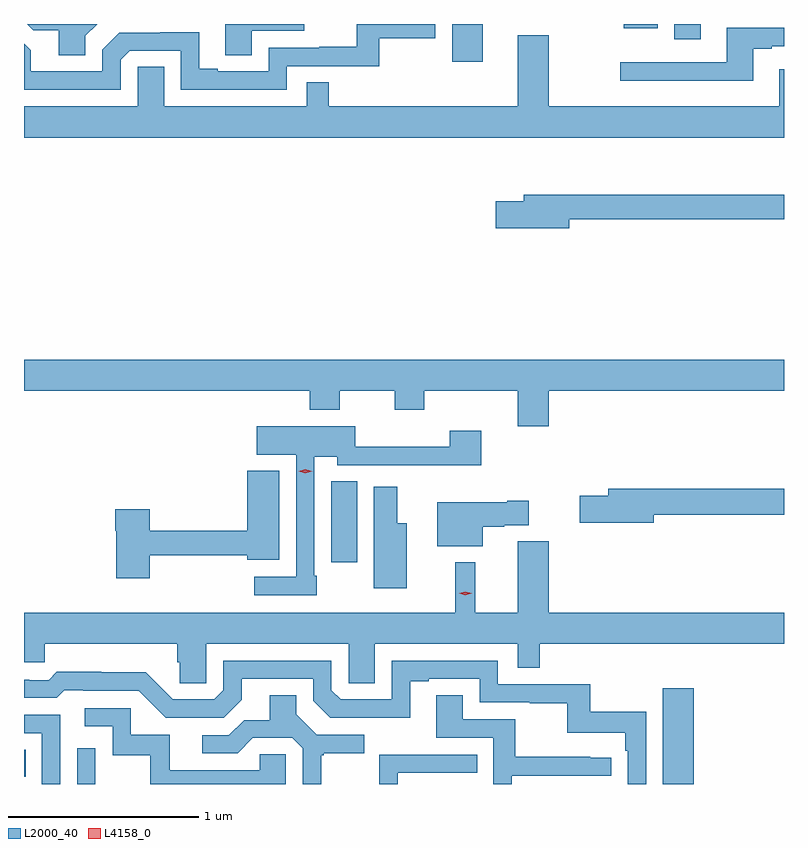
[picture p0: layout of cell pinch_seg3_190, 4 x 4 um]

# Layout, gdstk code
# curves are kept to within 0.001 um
import gdstk
lib = gdstk.Library(unit=1e-6, precision=1e-09)
def R(c, l, rs):  # rectangles x0, y0, x1, y1
    for r in rs: c.add(gdstk.rectangle(r[:2], r[2:], *l))
def P(c, l, *ps):  # polygons
    for p in ps: c.add(gdstk.Polygon(p, *l))
L2000_40 = (2000, 40)
L4158_0 = (4158, 0)

pinch_seg3_190 = lib.new_cell('pinch_seg3_190')
R(pinch_seg3_190, L2000_40, [(977.874,729.482,977.97,729.67), (980.957,729.482,981.118,729.985), (977.594,729.521,977.603,729.661), (979.211,730.65,979.348,731.075), (979.847,733.284,980.008,733.482), (981.017,733.401,981.157,733.482), (980.75,733.46,980.929,733.482)])
P(pinch_seg3_190, L2000_40, [(978.793,733.446),(979.07,733.446),(979.07,733.482),(978.653,733.482),(978.653,733.318),(978.793,733.318)],
  [(977.917,733.42),(977.979,733.482),(977.61,733.482),(977.642,733.45),(977.777,733.45),(977.777,733.318),(977.917,733.318)],
  [(978.102,733.293),(978.15,733.341),(978.42,733.341),(978.42,733.137),(978.978,733.137),(978.978,733.26),(979.465,733.26),(979.465,733.407),(979.758,733.407),(979.758,733.482),(979.344,733.482),(979.344,733.361),(979.147,733.361),(979.147,733.356),(978.882,733.356),(978.882,733.233),(978.613,733.233),(978.613,733.246),(978.517,733.246),(978.517,733.439),(978.312,733.439),(978.312,733.437),(978.096,733.437),(978.006,733.347),(978.006,733.233),(977.629,733.233),(977.629,733.343),(977.594,733.378),(977.594,733.137),(978.102,733.137)],
  [(981.433,733.353),(981.529,733.353),(981.529,733.365),(981.594,733.365),(981.594,733.462),(981.293,733.462),(981.293,733.281),(980.733,733.281),(980.733,733.184),(981.433,733.184)],
  [(981.594,733.243),(981.569,733.243),(981.569,733.048),(980.356,733.048),(980.356,733.423),(980.192,733.423),(980.192,733.048),(979.199,733.048),(979.199,733.175),(979.083,733.175),(979.083,733.048),(978.331,733.048),(978.331,733.256),(978.192,733.256),(978.192,733.048),(977.594,733.048),(977.594,732.884),(981.594,732.884)],
  [(980.464,732.454),(981.594,732.454),(981.594,732.583),(980.225,732.583),(980.225,732.549),(980.076,732.549),(980.076,732.407),(980.464,732.407)],
  [(980.356,731.552),(981.594,731.552),(981.594,731.716),(977.594,731.716),(977.594,731.552),(979.097,731.552),(979.097,731.453),(979.257,731.453),(979.257,731.552),(979.546,731.552),(979.546,731.453),(979.701,731.453),(979.701,731.552),(980.192,731.552),(980.192,731.364),(980.356,731.364)],
  [(979.135,730.579),(979.122,730.579),(979.122,731.204),(979.242,731.204),(979.242,731.16),(979.751,731.16),(979.751,731.159),(980,731.159),(980,731.341),(979.835,731.341),(979.835,731.258),(979.338,731.258),(979.338,731.365),(978.819,731.365),(978.819,731.216),(979.026,731.216),(979.026,730.572),(978.807,730.572),(978.807,730.476),(979.135,730.476)],
  [(978.257,730.686),(978.77,730.686),(978.77,730.661),(978.937,730.661),(978.937,731.131),(978.77,731.131),(978.77,730.814),(978.257,730.814),(978.257,730.927),(978.074,730.927),(978.074,730.814),(978.079,730.814),(978.079,730.566),(978.257,730.566)],
  [(979.609,730.855),(979.558,730.855),(979.558,731.047),(979.436,731.047),(979.436,730.511),(979.609,730.511)],
  [(980.908,730.9),(981.594,730.9),(981.594,731.036),(980.669,731.036),(980.669,731),(980.52,731),(980.52,730.858),(980.908,730.858)],
  [(980.008,730.837),(980.121,730.837),(980.121,730.844),(980.251,730.844),(980.251,730.974),(980.138,730.974),(980.138,730.966),(979.769,730.966),(979.769,730.733),(980.008,730.733)],
  [(977.594,730.122),(977.703,730.122),(977.703,730.22),(978.401,730.22),(978.401,730.122),(978.415,730.122),(978.415,730.012),(978.552,730.012),(978.552,730.22),(979.302,730.22),(979.302,730.012),(979.441,730.012),(979.441,730.22),(980.193,730.22),(980.193,730.093),(980.309,730.093),(980.309,730.22),(981.594,730.22),(981.594,730.384),(980.356,730.384),(980.356,730.759),(980.192,730.759),(980.192,730.384),(979.968,730.384),(979.968,730.648),(979.864,730.648),(979.864,730.384),(977.594,730.384)],
  [(980.868,729.862),(980.575,729.862),(980.575,730.008),(980.088,730.008),(980.088,730.131),(979.53,730.131),(979.53,729.927),(979.26,729.927),(979.212,729.975),(979.212,730.131),(978.642,730.131),(978.642,729.975),(978.594,729.927),(978.378,729.927),(978.236,730.069),(978,730.069),(978,730.072),(977.767,730.072),(977.725,730.029),(977.622,730.029),(977.622,730.032),(977.594,730.032),(977.594,729.936),(977.767,729.936),(977.806,729.975),(977.905,729.975),(977.905,729.972),(978.198,729.972),(978.339,729.831),(978.645,729.831),(978.739,729.925),(978.739,730.035),(979.116,730.035),(979.116,729.921),(979.206,729.831),(979.627,729.83),(979.627,730.023),(979.723,730.023),(979.723,730.035),(979.992,730.035),(979.992,729.912),(980.257,729.912),(980.257,729.907),(980.454,729.907),(980.454,729.752),(980.759,729.752),(980.759,729.656),(980.772,729.656),(980.772,729.482),(980.868,729.482)],
  [(979.159,729.633),(979.171,729.633),(979.171,729.644),(979.384,729.644),(979.384,729.741),(979.134,729.741),(979.027,729.848),(979.027,729.95),(978.887,729.95),(978.887,729.818),(978.752,729.818),(978.672,729.738),(978.531,729.738),(978.531,729.645),(978.718,729.645),(978.799,729.726),(979.005,729.726),(979.062,729.669),(979.062,729.482),(979.159,729.482)],
  [(980.16,729.525),(980.686,729.525),(980.686,729.621),(980.573,729.621),(980.573,729.626),(980.18,729.626),(980.18,729.822),(979.903,729.822),(979.903,729.95),(979.763,729.95),(979.763,729.726),(980.064,729.726),(980.064,729.482),(980.16,729.482)],
  [(978.972,729.639),(978.835,729.639),(978.835,729.555),(978.361,729.555),(978.361,729.741),(978.156,729.741),(978.156,729.882),(977.913,729.882),(977.913,729.786),(978.06,729.786),(978.06,729.633),(978.259,729.633),(978.259,729.482),(978.972,729.482)],
  [(977.784,729.846),(977.594,729.846),(977.594,729.75),(977.688,729.75),(977.688,729.482),(977.784,729.482)],
  [(979.56,729.54),(979.979,729.54),(979.979,729.636),(979.464,729.636),(979.464,729.482),(979.56,729.482)])
P(pinch_seg3_190, L4158_0, [(979.917,730.475),(979.884,730.485),(979.883,730.485),(979.884,730.485),(979.917,730.495),(979.95,730.486),(979.95,730.486),(979.95,730.486)],
  [(979.075,731.118),(979.04,731.128),(979.04,731.128),(979.04,731.128),(979.075,731.138),(979.11,731.128),(979.11,731.128),(979.11,731.128)])

lib.write_gds('pinch_seg3_190.gds')
